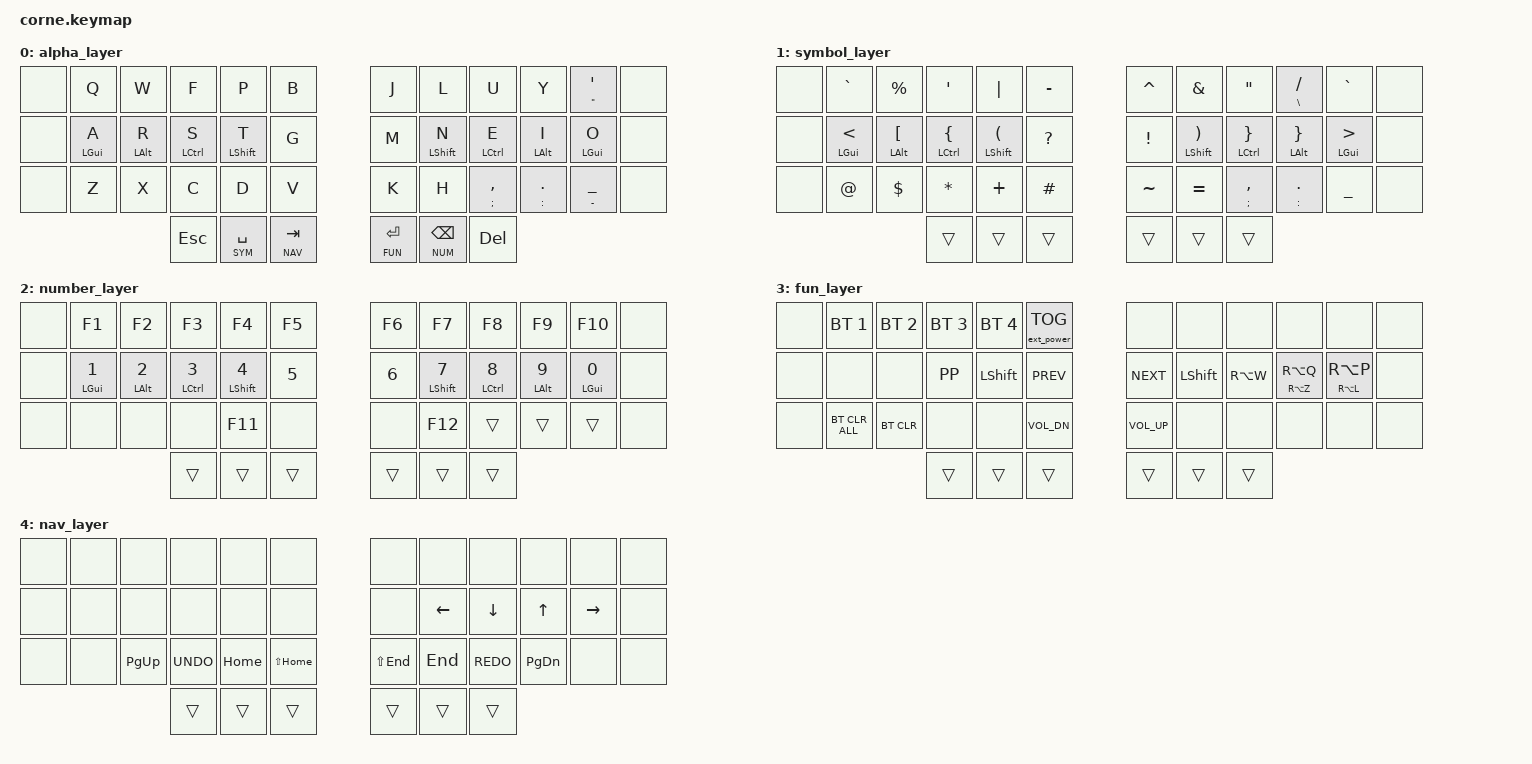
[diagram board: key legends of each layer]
/*
 * Copyright (c) 2020 The ZMK Contributors
 *
 * SPDX-License-Identifier: MIT
 */

#include <zephyr/kernel.h>
#include <behaviors.dtsi>
#include <dt-bindings/zmk/keys.h>
#include <dt-bindings/zmk/bt.h>
#include <dt-bindings/zmk/ext_power.h>
#include <dt-bindings/zmk/outputs.h>
#include <zmk/keymap.h>
#include <zmk/display.h>
#include <zmk/wpm.h>  // For fetching Words Per Minute
#include <zmk/battery.h>  // For battery level

//LAYERS
#define ALPHA  0
#define SYM    1
#define NUM    2
#define FUN    3
#define NAV    4

/ {
        behaviors {
            //Fixes homerow for fast typing
            rpi: require_prior_idle {
                compatible = "zmk,behavior-hold-tap";
                #binding-cells = <2>;
                flavor = "balanced";
                tapping-term-ms = <280>;
                quick-tap-ms = <175>;
                require-prior-idle-ms = <150>;bindings
                bindings = <&kp>, <&kp>;
                hold-trigger-on-release;
            };
        };
        oled_update_trigger: task {
            compatible = "zmk,behavior-task";
            #binding-cells = <0>;
            binding = <&task_update_oled>;
        };

        keymap {
                compatible = "zmk,keymap";
                // Function to update OLED display with WPM, battery, and layer
                void task_update_oled(void) {
                    static uint32_t last_update = 0;
                    uint32_t current_time = zmk_get_time();
                    if (current_time - last_update >= 5000) {
                        uint32_t wpm = get_current_wpm();
                        uint8_t battery_level = battery_get_percentage();
                        uint8_t active_layer = zmk_keymap_get_active_layer();

                        char display_buffer[32];
                        snprintf(display_buffer, sizeof(display_buffer),
                                 "WPM: %d   Bat: %d%%   Layer: %d", wpm, battery_level, active_layer);
                        zmk_display_output(display_buffer);
                    }
                }

                alpha_layer {
// -----------------------------------------------------------------------------------------------------------
// ||    Q    |    W    |    F    |    P    |    B    |   |    J    |    L    |    U    |    Y    |    '"   ||
// ||    A    |    R    |    S    |    T    |    G    |   |    M    |    N    |    E    |    I    |    O    ||
// ||    Z    |    X    |    C    |    D    |    V    |   |    K    |    H    |    ,;   |    .:   |    _-   ||
//                     ||   ESC   |  SPACE  |   TAB   |   |  ENTER  |   BSPC  |   DEL   ||

                        bindings = <
       &none &kp Q        &kp W        &kp F         &kp P          &kp B                 &kp J           &kp L          &kp U                &kp Y          &mt DQT SQT &none
       &none &mt LGUI A   &mt LALT R   &mt LCTRL S   &mt LSHIFT T   &kp G                 &kp M           &mt LSHIFT N   &mt LCTRL E          &mt LALT I     &mt LGUI O &none
       &none &kp Z        &kp X        &kp C         &kp D          &kp V                 &kp K           &kp H          &mt SEMICOLON COMMA  &mt COLON DOT  &mt MINUS UNDERSCORE &none
                                       &kp ESC       &lt SYM SPACE  &lt NAV TAB           &lt FUN RET     &lt NUM BSPC   &kp DEL
                        >;
                };

                symbol_layer {
// -----------------------------------------------------------------------------------------------------------
// ||    `    |    %    |    '    |    |    |    -    |   |    ^    |    &    |    "    |    /\   |    ´    ||
// ||    <    |    [    |    {    |    (    |    ?    |   |    !    |    )    |    }    |    ]    |    >    ||
// ||    @    |    $    |    *    |    +    |    #    |   |    ~    |    =    |    ,;   |    .:   |    _    ||
//                     ||   ESC   |  SPACE  |   TAB   |   |  ENTER  |   BSPC  |   DEL   ||

                        bindings = <
       &none &kp GRAVE        &kp PRCNT      &kp SQT          &kp PIPE          &kp MINUS            &kp CARET   &kp AMPS         &kp DQT             &mt BSLH FSLH  &kp GRAVE &none
       &none &mt LGUI LT      &mt LALT LBKT  &mt LCTRL LBRC   &mt LSHIFT LPAR   &kp QMARK            &kp EXCL    &mt LSHIFT RPAR  &mt LCTRL RBRC      &mt LALT RBRC  &mt LGUI GT &none
       &none &kp AT           &kp DLLR       &kp ASTRK        &kp PLUS          &kp HASH             &kp TILDE   &kp EQUAL        &mt SEMICOLON COMMA &mt COLON DOT  &kp UNDERSCORE &none
                                             &trans           &trans            &trans               &trans      &trans           &trans
                        >;
                };

                number_layer {
// -----------------------------------------------------------------------------------------------------------
// ||    F1   |    F2   |    F3   |    F4   |    F5   |   |    F6   |    F7   |    F8   |    F9   |   F10   ||
// ||    1    |    2    |    3    |    4    |    5    |   |    6    |    7    |    8    |    9    |    0    ||
// ||   none  |  none   |  none   |   F11   |   none  |   |  none   |   F12   |  trans  |  trans  |  trans  ||
//                     ||   ESC   |  SPACE  |   TAB   |   |  ENTER  |  BSPC   |   DEL   ||

                        bindings = <
       &none &kp F1      &kp F2       &kp F3        &kp F4         &kp F5         &kp F6  &kp F7         &kp F8        &kp F9       &kp F10      &none
       &none &mt LGUI N1 &mt LALT N2  &mt LCTRL N3  &mt LSHIFT N4  &kp N5         &kp N6  &mt LSHIFT N7  &mt LCTRL N8  &mt LALT N9  &mt LGUI N0  &none
       &none &none       &none        &none         &kp F11        &none          &none   &kp F12        &trans        &trans       &trans       &none
                                      &trans        &trans         &trans         &trans  &trans         &trans
                        >;
                };

                fun_layer {
// -----------------------------------------------------------------------------------------------------------
// || BT_SEL1 | BT_SEL2 | BT_SEL3 | BT_SEL4 |  EP_TOG |   |  none   |  none   |  none   |  none   |  none   ||
// ||   none  |  none   | PLAY/PA |  SHIFT  |  PREV   |   |  NEXT   |  SHIFT  |    Å    |   ÄÆ    |   ÖØ    ||
// || BT_CLA  |  BT_CL  |  none   |  none   |  VOL-   |   |  VOL+   |  none   |  none   |  none   |  none   ||
//                     ||   ESC   |  SPACE  |  TAB    |   |  ENTER  |  BSPC   |   DEL   ||

                        bindings = <
       &none &bt BT_SEL 1    &bt BT_SEL 2  &bt BT_SEL 3  &bt BT_SEL 4  &ext_power EP_TOG     &none         &none       &none       &none            &none            &none
       &none &none           &none         &kp K_PP      &kp LSHIFT    &kp K_PREV            &kp K_NEXT    &kp LSHIFT  &kp RA(W)   &mt RA(Z) RA(Q)  &mt RA(L) RA(P)  &none
       &none &bt BT_CLR_ALL  &bt BT_CLR    &none         &none         &kp K_VOL_DN          &kp K_VOL_UP  &none       &none       &none            &none            &none
                                           &trans        &trans        &trans                &trans        &trans      &trans
                        >;
                    &oled_update_trigger,
                };

                nav_layer {
// -----------------------------------------------------------------------------------------------------------
// ||  none   |  none   |  none   |  none   |  none   |   |  none   |   none  |   none  |  none   |  none   ||
// ||  SUPER  |   ALT   |  CTRL   |  SHIFT  |  none   |   |  none   |   LEFT  |   DOWN  |   UP    |  RIGHT  ||
// ||  none   |  PGUP   |  UNDO   |  HOME   |  S_HOME |   |  S_END  |   END   |   REDO  |  PGDN   |  none   ||
//                     ||  ESC    |  SPACE  |   TAB   |   |  ENTER  |   BSPC  |   DEL   ||

                        bindings = <
       &none &none  &none      &none       &none     &none                 &none        &none     &none       &none      &none      &none
       &none &none  &none      &none       &none     &none                 &none        &kp LEFT  &kp DOWN    &kp UP     &kp RIGHT  &none
       &none &none  &kp PG_UP  &kp K_UNDO  &kp HOME  &kp LS(HOME)          &kp LS(END)  &kp END   &kp K_REDO  &kp PG_DN  &none      &none
                               &trans      &trans    &trans                &trans       &trans    &trans
                        >;
                };
        };
};

void oled_display_init(void) {
    uint32_t wpm = get_current_wpm();  // Function to get current WPM
    uint8_t battery_level = battery_get_percentage();  // Function to get battery level
    uint8_t active_layer = zmk_keymap_get_active_layer();  // Get active layer

    // Create a string to display
    char display_buffer[32];
    snprintf(display_buffer, sizeof(display_buffer),
             "WPM: %d   Bat: %d%%   Layer: %d", wpm, battery_level, active_layer);

    // Update OLED with the display buffer
    zmk_display_output(display_buffer);
};
